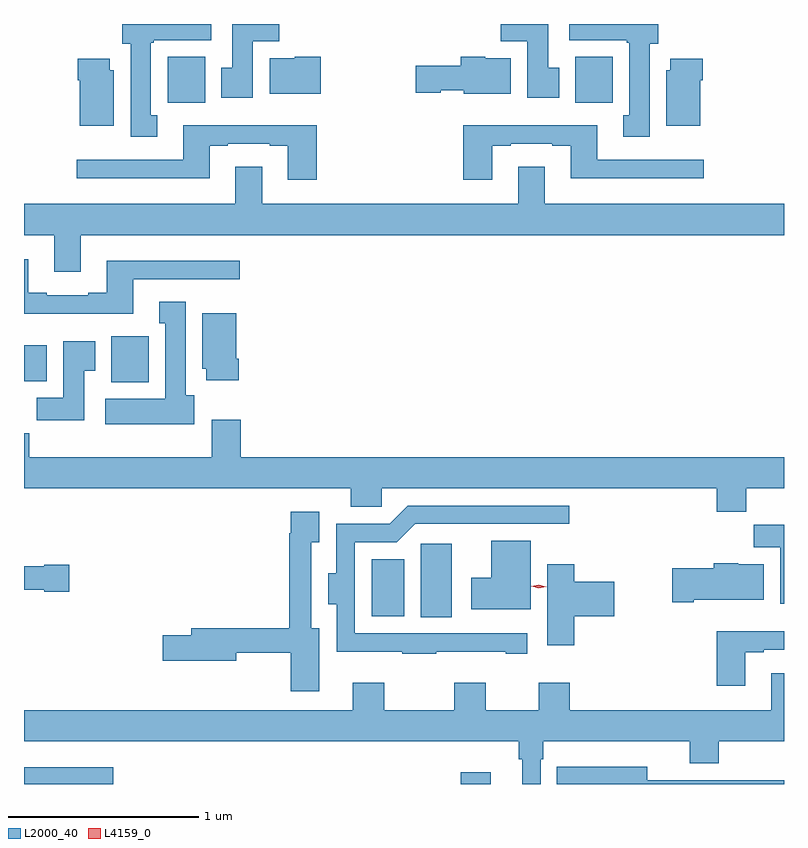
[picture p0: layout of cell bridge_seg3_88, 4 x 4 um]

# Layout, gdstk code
import gdstk
lib = gdstk.Library(unit=1e-6, precision=1e-09)
def R(c, l, rs):  # rectangles x0, y0, x1, y1
    for r in rs: c.add(gdstk.rectangle(r[:2], r[2:], *l))
def P(c, l, *ps):  # polygons
    for p in ps: c.add(gdstk.Polygon(p, *l))
L2000_40 = (2000, 40)
L4159_0 = (4159, 0)

bridge_seg3_88 = lib.new_cell('bridge_seg3_88')
R(bridge_seg3_88, L2000_40, [(422.57,692.699,423.04,692.788), (424.868,692.699,425.026,692.761), (424.658,693.577,424.822,693.964), (424.4,693.581,424.57,693.883), (423.029,694.814,423.226,695.056), (422.57,694.82,422.689,695.008), (423.326,696.284,423.523,696.526), (425.471,696.284,425.668,696.526)])
P(bridge_seg3_88, L2000_40, [(425.863,696.594),(425.908,696.594),(425.908,696.699),(425.439,696.699),(425.439,696.614),(425.743,696.614),(425.743,696.601),(425.756,696.601),(425.756,696.218),(425.723,696.218),(425.723,696.105),(425.863,696.105)],
  [(423.271,696.218),(423.238,696.218),(423.238,696.601),(423.252,696.601),(423.252,696.614),(423.556,696.614),(423.556,696.699),(423.086,696.699),(423.086,696.594),(423.131,696.594),(423.131,696.105),(423.271,696.105)],
  [(425.386,696.468),(425.329,696.468),(425.329,696.699),(425.08,696.699),(425.08,696.608),(425.219,696.608),(425.219,696.312),(425.386,696.312)],
  [(423.775,696.608),(423.914,696.608),(423.914,696.699),(423.665,696.699),(423.665,696.468),(423.608,696.468),(423.608,696.312),(423.775,696.312)],
  [(424.132,696.526),(423.996,696.526),(423.996,696.52),(423.863,696.52),(423.863,696.332),(424.132,696.332)],
  [(425.131,696.52),(424.998,696.52),(424.998,696.526),(424.868,696.526),(424.868,696.48),(424.632,696.48),(424.632,696.338),(424.764,696.338),(424.764,696.35),(424.884,696.35),(424.884,696.332),(425.131,696.332)],
  [(423.043,696.456),(423.022,696.456),(423.022,696.517),(422.852,696.517),(422.852,696.404),(422.864,696.404),(422.864,696.164),(423.043,696.164)],
  [(426.13,696.404),(426.143,696.404),(426.143,696.517),(425.972,696.517),(425.972,696.456),(425.951,696.456),(425.951,696.164),(426.13,696.164)],
  [(425.035,696.057),(425.131,696.057),(425.131,696.069),(425.351,696.069),(425.351,696.057),(425.447,696.057),(425.447,695.888),(426.148,695.888),(426.148,695.985),(425.587,695.985),(425.587,696.166),(424.883,696.166),(424.883,695.88),(425.035,695.88)],
  [(424.112,696.166),(423.407,696.166),(423.407,695.985),(422.847,695.985),(422.847,695.888),(423.547,695.888),(423.547,696.057),(423.643,696.057),(423.643,696.069),(423.863,696.069),(423.863,696.057),(423.959,696.057),(423.959,695.88),(424.112,695.88)],
  [(422.869,695.588),(426.57,695.588),(426.57,695.752),(425.311,695.752),(425.311,695.947),(425.171,695.947),(425.171,695.752),(423.823,695.752),(423.823,695.947),(423.683,695.947),(423.683,695.752),(422.57,695.752),(422.57,695.588),(422.729,695.588),(422.729,695.394),(422.869,695.394)],
  [(423.145,695.355),(423.706,695.355),(423.706,695.452),(423.005,695.452),(423.005,695.284),(422.909,695.284),(422.909,695.271),(422.689,695.271),(422.689,695.284),(422.593,695.284),(422.593,695.461),(422.57,695.461),(422.57,695.174),(423.145,695.174)],
  [(423.466,694.746),(423.421,694.746),(423.421,695.236),(423.281,695.236),(423.281,695.123),(423.314,695.123),(423.314,694.726),(422.997,694.726),(422.997,694.592),(423.466,694.592)],
  [(423.701,694.936),(423.688,694.936),(423.688,695.176),(423.509,695.176),(423.509,694.884),(423.53,694.884),(423.53,694.824),(423.701,694.824)],
  [(422.887,694.873),(422.944,694.873),(422.944,695.029),(422.777,695.029),(422.777,694.732),(422.638,694.732),(422.638,694.614),(422.887,694.614)],
  [(426.371,694.256),(426.57,694.256),(426.57,694.42),(423.71,694.42),(423.71,694.615),(423.557,694.615),(423.557,694.42),(422.597,694.42),(422.597,694.544),(422.57,694.544),(422.57,694.256),(424.289,694.256),(424.289,694.158),(424.452,694.158),(424.452,694.256),(426.215,694.256),(426.215,694.132),(426.371,694.132)],
  [(424.739,693.395),(425.105,693.395),(425.105,693.384),(425.218,693.384),(425.218,693.492),(424.311,693.492),(424.311,693.972),(424.533,693.972),(424.629,694.068),(425.44,694.068),(425.44,694.164),(424.59,694.164),(424.494,694.068),(424.214,694.068),(424.214,693.808),(424.172,693.808),(424.172,693.644),(424.215,693.644),(424.215,693.395),(424.561,693.395),(424.561,693.384),(424.739,693.384)],
  [(424.123,693.52),(424.083,693.52),(424.083,693.971),(424.123,693.971),(424.123,694.132),(423.975,694.132),(423.975,694.019),(423.967,694.019),(423.967,693.518),(423.449,693.518),(423.449,693.482),(423.3,693.482),(423.3,693.347),(423.688,693.347),(423.688,693.39),(423.974,693.39),(423.974,693.186),(424.123,693.186)],
  [(426.57,694.063),(426.412,694.063),(426.412,693.944),(426.551,693.944),(426.551,693.648),(426.57,693.648)],
  [(425.236,693.979),(425.03,693.979),(425.03,693.784),(424.923,693.784),(424.923,693.62),(425.236,693.62)],
  [(426.094,693.668),(426.463,693.668),(426.463,693.856),(426.33,693.856),(426.33,693.862),(426.2,693.862),(426.2,693.834),(425.982,693.834),(425.982,693.656),(426.094,693.656)],
  [(425.465,693.581),(425.677,693.581),(425.677,693.764),(425.465,693.764),(425.465,693.856),(425.324,693.856),(425.324,693.429),(425.465,693.429)],
  [(422.809,693.852),(422.676,693.852),(422.676,693.844),(422.57,693.844),(422.57,693.722),(422.676,693.722),(422.676,693.71),(422.809,693.71)],
  [(426.367,693.393),(426.463,693.393),(426.463,693.405),(426.57,693.405),(426.57,693.502),(426.215,693.502),(426.215,693.216),(426.367,693.216)],
  [(425.289,692.828),(425.303,692.828),(425.303,692.924),(426.074,692.924),(426.074,692.807),(426.227,692.807),(426.227,692.924),(426.57,692.924),(426.57,693.283),(426.503,693.283),(426.503,693.088),(425.443,693.088),(425.443,693.232),(425.279,693.232),(425.279,693.088),(424.999,693.088),(424.999,693.232),(424.835,693.232),(424.835,693.088),(424.465,693.088),(424.465,693.232),(424.301,693.232),(424.301,693.088),(422.57,693.088),(422.57,692.924),(425.173,692.924),(425.173,692.828),(425.192,692.828),(425.192,692.699),(425.289,692.699)],
  [(426.57,692.72),(426.31,692.72),(426.31,692.718),(425.85,692.718),(425.85,692.791),(425.482,692.791),(425.482,692.79),(425.374,692.79),(425.374,692.699),(426.57,692.699)])
P(bridge_seg3_88, L4159_0, [(425.28,693.729),(425.241,693.74),(425.241,693.74),(425.241,693.74),(425.28,693.749),(425.318,693.738),(425.319,693.738),(425.318,693.738)])

lib.write_gds('bridge_seg3_88.gds')
